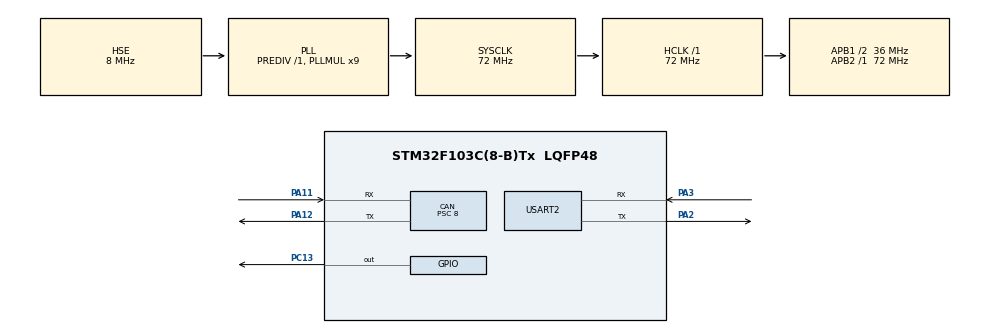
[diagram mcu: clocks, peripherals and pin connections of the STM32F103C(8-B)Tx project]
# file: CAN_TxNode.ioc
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CAN.BS1=CAN_BS1_15TQ
CAN.BS2=CAN_BS2_2TQ
CAN.CalculateBaudRate=250000
CAN.CalculateTimeBit=4000
CAN.CalculateTimeQuantum=222.22222222222223
CAN.NART=DISABLE
CAN.Prescaler=8
Mcu.Family=STM32F1
Mcu.Name=STM32F103C(8-B)Tx
Mcu.Package=LQFP48
NVIC.PriorityGroup=NVIC_PRIORITYGROUP_4
NVIC.TIM1_UP_IRQn=true\:15\:0\:false\:false\:true\:false\:true\:true
NVIC.TimeBase=TIM1_UP_IRQn
NVIC.TimeBaseIP=TIM1
PA11.Mode=CAN_Activate
PA11.Signal=CAN_RX
PA12.Mode=CAN_Activate
PA12.Signal=CAN_TX
PA13.Mode=Serial_Wire
PA13.Signal=SYS_JTMS-SWDIO
PA14.Mode=Serial_Wire
PA14.Signal=SYS_JTCK-SWCLK
PA2.Mode=Asynchronous
PA2.Signal=USART2_TX
PA3.Mode=Asynchronous
PA3.Signal=USART2_RX
PC13-TAMPER-RTC.Signal=GPIO_Output
PD0-OSC_IN.Mode=HSE-External-Oscillator
PD0-OSC_IN.Signal=RCC_OSC_IN
PD1-OSC_OUT.Mode=HSE-External-Oscillator
PD1-OSC_OUT.Signal=RCC_OSC_OUT
ProjectManager.HeapSize=0x200
ProjectManager.StackSize=0x400
ProjectManager.TargetToolchain=CMake
RCC.AHBFreq_Value=72000000
RCC.APB1CLKDivider=RCC_HCLK_DIV2
RCC.APB1Freq_Value=36000000
RCC.APB1TimFreq_Value=72000000
RCC.APB2Freq_Value=72000000
RCC.APB2TimFreq_Value=72000000
RCC.HCLKFreq_Value=72000000
RCC.PLLMUL=RCC_PLL_MUL9
RCC.PLLSourceVirtual=RCC_PLLSOURCE_HSE
RCC.SYSCLKFreq_VALUE=72000000
RCC.SYSCLKSource=RCC_SYSCLKSOURCE_PLLCLK
RCC.USBFreq_Value=72000000
USART2.VirtualMode=VM_ASYNC
VP_SYS_VS_tim1.Mode=TIM1
board=custom

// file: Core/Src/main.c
/* USER CODE BEGIN Header */
/**
  ******************************************************************************
  * @file           : main.c
  * @brief          : Main program body
  ******************************************************************************
  * @attention
  *
  * Copyright (c) 2025 STMicroelectronics.
  * All rights reserved.
  *
  * This software is licensed under terms that can be found in the LICENSE file
  * in the root directory of this software component.
  * If no LICENSE file comes with this software, it is provided AS-IS.
  *
  ******************************************************************************
  */
/* USER CODE END Header */
#include "main.h"

CAN_HandleTypeDef hcan;

UART_HandleTypeDef huart2;

void SystemClock_Config(void);
static void MX_GPIO_Init(void);
static void MX_CAN_Init(void);
static void MX_USART2_UART_Init(void);
/* USER CODE BEGIN PFP */
void CAN_Tx(uint8_t angle);
/* USER CODE END PFP */

int main(void)
{

  /* MCU Configuration--------------------------------------------------------*/

  /* Reset of all peripherals, Initializes the Flash interface and the Systick. */
  HAL_Init();

  /* Configure the system clock */
  SystemClock_Config();

  /* Initialize all configured peripherals */
  MX_GPIO_Init();
  MX_CAN_Init();
  MX_USART2_UART_Init();
  /* USER CODE BEGIN 2 */

  // CAN go to normal mode
  CAN_FilterTypeDef sFilterConfig;

  sFilterConfig.FilterBank = 0;
  sFilterConfig.FilterMode = CAN_FILTERMODE_IDMASK;
  sFilterConfig.FilterScale = CAN_FILTERSCALE_32BIT;
  sFilterConfig.FilterIdHigh = 0x0000;
  sFilterConfig.FilterIdLow = 0x0000;
  sFilterConfig.FilterMaskIdHigh = 0x0000;
  sFilterConfig.FilterMaskIdLow = 0x0000;
  sFilterConfig.FilterFIFOAssignment = CAN_FILTER_FIFO0;
  sFilterConfig.FilterActivation = ENABLE;
  sFilterConfig.SlaveStartFilterBank = 14;

  HAL_CAN_ConfigFilter(&hcan, &sFilterConfig);

  HAL_CAN_Start(&hcan);

  /* USER CODE END 2 */

  /* Infinite loop */
  while (1)
  {

    /* USER CODE BEGIN 3 */
      for ( uint8_t angle = 0; angle <= 180; angle +=30)
      {
        CAN_Tx(angle);
        HAL_Delay(1000);
      }
  }
  /* USER CODE END 3 */
}

void SystemClock_Config(void)
{
  RCC_OscInitTypeDef RCC_OscInitStruct = {0};
  RCC_ClkInitTypeDef RCC_ClkInitStruct = {0};

  /** Initializes the RCC Oscillators according to the specified parameters
  * in the RCC_OscInitTypeDef structure.
  */
  RCC_OscInitStruct.OscillatorType = RCC_OSCILLATORTYPE_HSE;
  RCC_OscInitStruct.HSEState = RCC_HSE_ON;
  RCC_OscInitStruct.HSEPredivValue = RCC_HSE_PREDIV_DIV1;
  RCC_OscInitStruct.HSIState = RCC_HSI_ON;
  RCC_OscInitStruct.PLL.PLLState = RCC_PLL_ON;
  RCC_OscInitStruct.PLL.PLLSource = RCC_PLLSOURCE_HSE;
  RCC_OscInitStruct.PLL.PLLMUL = RCC_PLL_MUL9;
  if (HAL_RCC_OscConfig(&RCC_OscInitStruct) != HAL_OK)
  {
    Error_Handler();
  }

  /** Initializes the CPU, AHB and APB buses clocks
  */
  RCC_ClkInitStruct.ClockType = RCC_CLOCKTYPE_HCLK|RCC_CLOCKTYPE_SYSCLK
                              |RCC_CLOCKTYPE_PCLK1|RCC_CLOCKTYPE_PCLK2;
  RCC_ClkInitStruct.SYSCLKSource = RCC_SYSCLKSOURCE_PLLCLK;
  RCC_ClkInitStruct.AHBCLKDivider = RCC_SYSCLK_DIV1;
  RCC_ClkInitStruct.APB1CLKDivider = RCC_HCLK_DIV2;
  RCC_ClkInitStruct.APB2CLKDivider = RCC_HCLK_DIV1;

  if (HAL_RCC_ClockConfig(&RCC_ClkInitStruct, FLASH_LATENCY_2) != HAL_OK)
  {
    Error_Handler();
  }
}

static void MX_CAN_Init(void)
{

  hcan.Instance = CAN1;
  hcan.Init.Prescaler = 8;
  hcan.Init.Mode = CAN_MODE_NORMAL;
  hcan.Init.SyncJumpWidth = CAN_SJW_1TQ;
  hcan.Init.TimeSeg1 = CAN_BS1_15TQ;
  hcan.Init.TimeSeg2 = CAN_BS2_2TQ;
  hcan.Init.TimeTriggeredMode = DISABLE;
  hcan.Init.AutoBusOff = DISABLE;
  hcan.Init.AutoWakeUp = DISABLE;
  hcan.Init.AutoRetransmission = DISABLE;
  hcan.Init.ReceiveFifoLocked = DISABLE;
  hcan.Init.TransmitFifoPriority = DISABLE;
  if (HAL_CAN_Init(&hcan) != HAL_OK)
  {
    Error_Handler();
  }

}

static void MX_USART2_UART_Init(void)
{

  huart2.Instance = USART2;
  huart2.Init.BaudRate = 115200;
  huart2.Init.WordLength = UART_WORDLENGTH_8B;
  huart2.Init.StopBits = UART_STOPBITS_1;
  huart2.Init.Parity = UART_PARITY_NONE;
  huart2.Init.Mode = UART_MODE_TX_RX;
  huart2.Init.HwFlowCtl = UART_HWCONTROL_NONE;
  huart2.Init.OverSampling = UART_OVERSAMPLING_16;
  if (HAL_UART_Init(&huart2) != HAL_OK)
  {
    Error_Handler();
  }

}

static void MX_GPIO_Init(void)
{
  GPIO_InitTypeDef GPIO_InitStruct = {0};

  /* GPIO Ports Clock Enable */
  __HAL_RCC_GPIOC_CLK_ENABLE();
  __HAL_RCC_GPIOD_CLK_ENABLE();
  __HAL_RCC_GPIOA_CLK_ENABLE();

  /*Configure GPIO pin Output Level */
  HAL_GPIO_WritePin(GPIOC, GPIO_PIN_13, GPIO_PIN_RESET);

  /*Configure GPIO pin : PC13 */
  GPIO_InitStruct.Pin = GPIO_PIN_13;
  GPIO_InitStruct.Mode = GPIO_MODE_OUTPUT_PP;
  GPIO_InitStruct.Pull = GPIO_NOPULL;
  GPIO_InitStruct.Speed = GPIO_SPEED_FREQ_LOW;
  HAL_GPIO_Init(GPIOC, &GPIO_InitStruct);

}

/* USER CODE BEGIN 4 */
/* USER CODE BEGIN 4 */
void CAN_Tx(uint8_t angle)
{
  CAN_TxHeaderTypeDef TxHeader;
  uint8_t TxData[3];  // Changed to 3 bytes for ASCII string
  uint32_t TxMailbox;

  TxHeader.StdId = 0x123;            // Use the same ID in receiver
  TxHeader.IDE = CAN_ID_STD;
  TxHeader.RTR = CAN_RTR_DATA;
  TxHeader.DLC = 3;                  // Sending 3 bytes (ASCII)

  // Format angle as 3-digit ASCII string with leading zeros
  TxData[0] = (angle / 100) + '0';        // Hundreds digit
  TxData[1] = ((angle % 100) / 10) + '0'; // Tens digit
  TxData[2] = (angle % 10) + '0';         // Units digit

  if (HAL_CAN_GetTxMailboxesFreeLevel(&hcan) > 0)
  {
    if (HAL_CAN_AddTxMessage(&hcan, &TxHeader, TxData, &TxMailbox) != HAL_OK)
    {
      const char *errorMsg = "TX Error!\r\n";
      HAL_UART_Transmit(&huart2, (uint8_t*)errorMsg, strlen(errorMsg), HAL_MAX_DELAY);
      Error_Handler();
    }
    else
    {
      char buffer[32];
      sprintf(buffer, "Sent angle: %d\r\n", angle);
      HAL_UART_Transmit(&huart2, (uint8_t*)buffer, strlen(buffer), HAL_MAX_DELAY);
    }
  }
}
/* USER CODE END 4 */

void HAL_TIM_PeriodElapsedCallback(TIM_HandleTypeDef *htim)
{
  if (htim->Instance == TIM1)
  {
    HAL_IncTick();
  }
}

void Error_Handler(void)
{
  __disable_irq();
  while (1)
  {
  }
}
